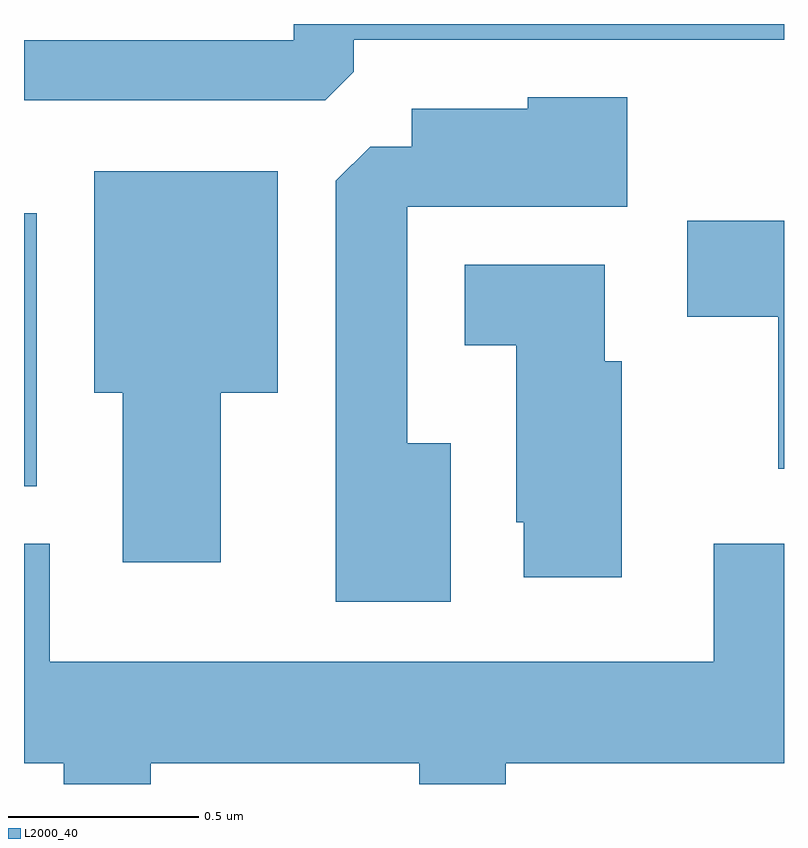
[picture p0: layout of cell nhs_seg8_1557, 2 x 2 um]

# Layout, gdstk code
import gdstk
lib = gdstk.Library(unit=1e-6, precision=1e-09)
def R(c, l, rs):  # rectangles x0, y0, x1, y1
    for r in rs: c.add(gdstk.rectangle(r[:2], r[2:], *l))
def P(c, l, *ps):  # polygons
    for p in ps: c.add(gdstk.Polygon(p, *l))
L2000_40 = (2000, 40)

nhs_seg8_1557 = lib.new_cell('nhs_seg8_1557')
R(nhs_seg8_1557, L2000_40, [(196.611,1857.126,196.644,1857.844)])
P(nhs_seg8_1557, L2000_40, [(197.479,1858.217),(197.479,1858.301),(198.611,1858.301),(198.611,1858.342),(197.321,1858.342),(197.321,1858.299),(196.611,1858.299),(196.611,1858.141),(197.404,1858.141)],
  [(197.734,1857.239),(197.619,1857.239),(197.619,1857.861),(198.199,1857.861),(198.199,1858.149),(197.936,1858.149),(197.936,1858.119),(197.631,1858.119),(197.631,1858.019),(197.522,1858.019),(197.431,1857.929),(197.431,1856.821),(197.734,1856.821)],
  [(197.129,1857.371),(197.279,1857.371),(197.279,1857.954),(196.796,1857.954),(196.796,1857.371),(196.871,1857.371),(196.871,1856.926),(197.129,1856.926)],
  [(198.611,1857.824),(198.356,1857.824),(198.356,1857.571),(198.596,1857.571),(198.596,1857.171),(198.611,1857.171)],
  [(198.184,1857.454),(198.139,1857.454),(198.139,1857.709),(197.771,1857.709),(197.771,1857.496),(197.906,1857.496),(197.906,1857.031),(197.926,1857.031),(197.926,1856.886),(198.184,1856.886)],
  [(196.944,1856.396),(197.651,1856.396),(197.651,1856.342),(197.879,1856.342),(197.879,1856.396),(198.611,1856.396),(198.611,1856.974),(198.426,1856.974),(198.426,1856.664),(196.679,1856.664),(196.679,1856.974),(196.611,1856.974),(196.611,1856.396),(196.716,1856.396),(196.716,1856.342),(196.944,1856.342)])

lib.write_gds('nhs_seg8_1557.gds')
